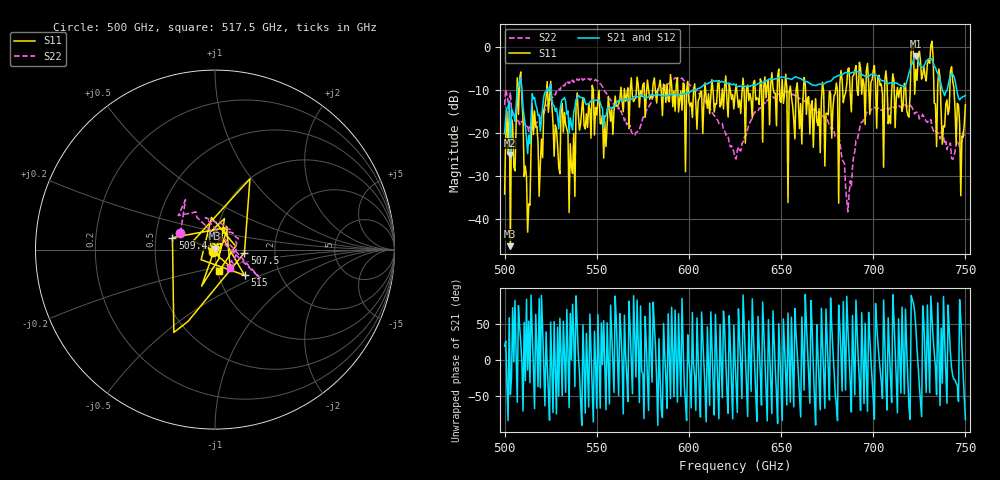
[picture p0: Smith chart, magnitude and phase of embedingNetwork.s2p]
# GHz S RI R 50
!freq	ReS11	ImS11	ReS21	ImS21	ReS12	ImS12	ReS22	ImS22
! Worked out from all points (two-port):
!   401 points, 500 GHz to 750 GHz, reference 50 ohm
!   highest |S21| = -2.13 dB at 723.1 GHz (marker M1); lowest = -25.2 dB at 503.1 GHz (marker M2)
!   |S21| within 3 dB of the highest: 720 GHz to 734.1 GHz (14.03 GHz wide, 1.93 % of centre)
!   lowest |S11| = -46.4 dB at 503.1 GHz (marker M3), VSWR 1.01, Z = 49.9 + j0.453 ohm
!   |S11| at or under -10 dB: 509.2 GHz to 522.8 GHz (13.62 GHz wide, 2.64 % of centre); 525.2 GHz to 547.4 GHz (22.21 GHz wide, 4.14 % of centre); 548.1 GHz to 563 GHz (14.84 GHz wide, 2.67 % of centre) (the widest 3 of 61)
!   |S22| runs from -38.4 to -7.1 dB; largest |S21 - S12| = 0
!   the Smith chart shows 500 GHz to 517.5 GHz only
!   S11 on the Smith chart (normalised r, x): 500 GHz: 0.98, -0.03; 507.5 GHz: 1.39, -0.05; 509.4 GHz: 0.61, +0.09; 515 GHz: 1.33, -0.40; 517.5 GHz: 1.02, -0.24
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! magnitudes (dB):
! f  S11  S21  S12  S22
! 500 GHz  -34.3  -20.2  -20.2  -13.4
! 503.1 GHz  -46.4  -25.2  -25.2  -10.5
! 507.5 GHz  -15.6  -9.3  -9.3  -17.0
! 509.4 GHz  -12.2  -9.8  -9.8  -17.5
! 512.5 GHz  -43.2  -24.8  -24.8  -18.5
! 515 GHz  -13.2  -10.8  -10.8  -18.2
! 517.5 GHz  -18.4  -14.3  -14.3  -17.5
! 519.4 GHz  -27.3  -19.6  -19.6  -16.4
! 523.8 GHz  -15.2  -10.2  -10.2  -13.4
! 536.2 GHz  -28.0  -18.1  -18.1  -8.2
! 541.9 GHz  -14.4  -11.7  -11.7  -7.3
! 570 GHz  -12.7  -11.6  -11.6  -20.5
! 583.8 GHz  -9.3  -11.1  -11.1  -9.8
! 625 GHz  -11.1  -8.7  -8.7  -25.7
! 644.4 GHz  -8.8  -7.3  -7.3  -11.8
! 666.9 GHz  -12.5  -8.8  -8.8  -14.4
! 680.6 GHz  -10.1  -6.7  -6.7  -20.7
! 686.2 GHz  -5.0  -6.0  -6.0  -38.4
! 694.4 GHz  -7.4  -6.5  -6.5  -17.3
! 708.8 GHz  -16.0  -8.3  -8.3  -14.3
! 723.1 GHz  -5.1  -2.1  -2.1  -15.2
! 750 GHz  -13.4  -11.2  -11.2  -20.6
